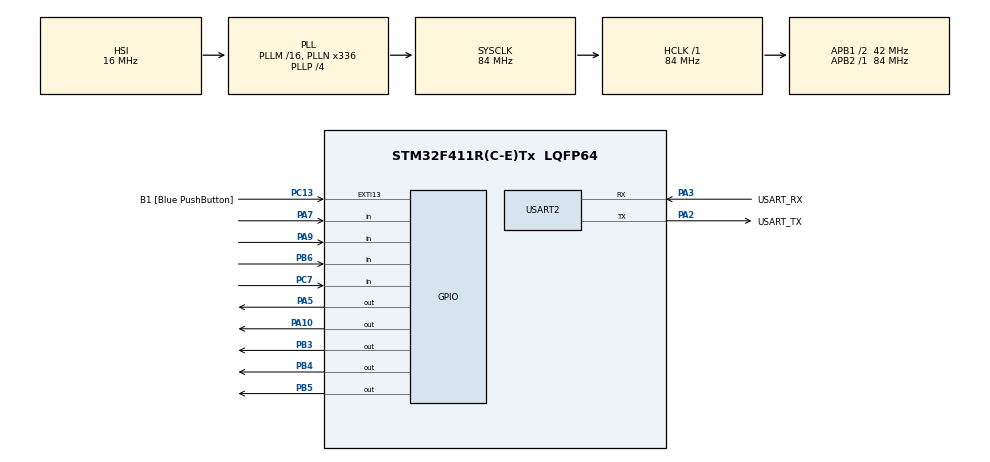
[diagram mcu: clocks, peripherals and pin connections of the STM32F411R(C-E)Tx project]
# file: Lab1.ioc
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Mcu.Family=STM32F4
Mcu.Name=STM32F411R(C-E)Tx
Mcu.Package=LQFP64
NVIC.PriorityGroup=NVIC_PRIORITYGROUP_0
PA10.PinState=GPIO_PIN_SET
PA10.Signal=GPIO_Output
PA13.GPIO_Label=TMS
PA13.Mode=Serial_Wire
PA13.Signal=SYS_JTMS-SWDIO
PA14.GPIO_Label=TCK
PA14.Mode=Serial_Wire
PA14.Signal=SYS_JTCK-SWCLK
PA2.GPIO_Label=USART_TX
PA2.Mode=Asynchronous
PA2.Signal=USART2_TX
PA3.GPIO_Label=USART_RX
PA3.Mode=Asynchronous
PA3.Signal=USART2_RX
PA5.Signal=GPIO_Output
PA7.GPIO_PuPd=GPIO_PULLUP
PA7.Signal=GPIO_Input
PA9.GPIO_PuPd=GPIO_PULLUP
PA9.Signal=GPIO_Input
PB3.PinState=GPIO_PIN_SET
PB3.Signal=GPIO_Output
PB4.PinState=GPIO_PIN_SET
PB4.Signal=GPIO_Output
PB5.PinState=GPIO_PIN_SET
PB5.Signal=GPIO_Output
PB6.GPIO_PuPd=GPIO_PULLUP
PB6.Signal=GPIO_Input
PC13-ANTI_TAMP.GPIO_Label=B1 [Blue PushButton]
PC13-ANTI_TAMP.GPIO_ModeDefaultEXTI=GPIO_MODE_IT_FALLING
PC13-ANTI_TAMP.Signal=GPXTI13
PC14-OSC32_IN.Mode=LSE-External-Oscillator
PC14-OSC32_IN.Signal=RCC_OSC32_IN
PC15-OSC32_OUT.Mode=LSE-External-Oscillator
PC15-OSC32_OUT.Signal=RCC_OSC32_OUT
PC7.GPIO_PuPd=GPIO_PULLUP
PC7.Signal=GPIO_Input
PH0\ -\ OSC_IN.Mode=HSE-External-Clock-Source
PH0\ -\ OSC_IN.Signal=RCC_OSC_IN
PH1\ -\ OSC_OUT.Mode=HSE-External-Clock-Source
PH1\ -\ OSC_OUT.Signal=RCC_OSC_OUT
ProjectManager.HeapSize=0x200
ProjectManager.StackSize=0x400
ProjectManager.TargetToolchain=STM32CubeIDE
RCC.48MHZClocksFreq_Value=84000000
RCC.AHBFreq_Value=84000000
RCC.APB1CLKDivider=RCC_HCLK_DIV2
RCC.APB1Freq_Value=42000000
RCC.APB1TimFreq_Value=84000000
RCC.APB2Freq_Value=84000000
RCC.APB2TimFreq_Value=84000000
RCC.CortexFreq_Value=84000000
RCC.FLatency-AdvancedSettings=FLASH_LATENCY_2
RCC.HCLKFreq_Value=84000000
RCC.HSE_VALUE=8000000
RCC.HSI_VALUE=16000000
RCC.PLLN=336
RCC.PLLP=RCC_PLLP_DIV4
RCC.SYSCLKFreq_VALUE=84000000
RCC.SYSCLKSource=RCC_SYSCLKSOURCE_PLLCLK
RCC.VCOOutputFreq_Value=336000000
USART2.VirtualMode=VM_ASYNC
board=NUCLEO-F411RE

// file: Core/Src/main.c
/* USER CODE BEGIN Header */
/**
  ******************************************************************************
  * @file           : main.c
  * @brief          : Main program body
  ******************************************************************************
  * @attention
  *
  * Copyright (c) 2023 STMicroelectronics.
  * All rights reserved.
  *
  * This software is licensed under terms that can be found in the LICENSE file
  * in the root directory of this software component.
  * If no LICENSE file comes with this software, it is provided AS-IS.
  *
  ******************************************************************************
  */
/* USER CODE END Header */
#include "main.h"

/* USER CODE BEGIN Includes */
//พงศภัค รติปัญญาพรกุล
/* USER CODE END Includes */

UART_HandleTypeDef huart2;

/* USER CODE BEGIN PV */
typedef struct _PortPin
{
	GPIO_TypeDef* PORT;
	uint16_t PIN;
}PortPin;

PortPin R[4] =
{
		{ GPIOA, GPIO_PIN_10 },
		{ GPIOB, GPIO_PIN_3 } ,
		{ GPIOB, GPIO_PIN_5 } ,
		{ GPIOB, GPIO_PIN_4 }
};

PortPin L[4] =
{ 		{ GPIOA, GPIO_PIN_9 },
		{ GPIOC, GPIO_PIN_7 },
		{ GPIOB, GPIO_PIN_6 },
		{ GPIOA, GPIO_PIN_7 }
};

uint16_t ButtonMatrix = 0;
uint16_t num = 100;
uint16_t num_regis = 100;

struct ButtonState{
	uint16_t Current;
	uint16_t Last;
};

struct ButtonState ButtonMatrixState;
int State = 0;
/* USER CODE END PV */

void SystemClock_Config(void);
static void MX_GPIO_Init(void);
static void MX_USART2_UART_Init(void);

/* USER CODE BEGIN PFP */
void ReadMatrixButton_1Row();
/* USER CODE END PFP */

int main(void)
{

  /* MCU Configuration--------------------------------------------------------*/

  /* Reset of all peripherals, Initializes the Flash interface and the Systick. */
HAL_Init();

  /* Configure the system clock */
  SystemClock_Config();

  /* Initialize all configured peripherals */
  MX_GPIO_Init();
  MX_USART2_UART_Init();

  /* Infinite loop */
  while (1)
  {

    /* USER CODE BEGIN 3 */
	  static uint32_t timestamp = 0;
	  if(HAL_GetTick()>=timestamp){
		  timestamp = HAL_GetTick() + 10;
		  ReadMatrixButton_1Row();
		  if(ButtonMatrix == 0b000000000001){
			  num = 7;
		  }else if(ButtonMatrix == 0b0000000000000010){
			  num = 4;
		  }else if(ButtonMatrix == 0b0000000000000100){
			  num = 1;
		  }else if(ButtonMatrix == 0b0000000000001000){
			  num = 0;
		  }else if(ButtonMatrix == 0b0000000000010000){
			  num = 8;
		  }else if(ButtonMatrix == 0b0000000000100000){
			  num = 5;
		  }else if(ButtonMatrix == 0b0000000001000000){
			  num = 2;
		  }else if(ButtonMatrix == 0b0000000100000000){
			  num = 9;
		  }else if(ButtonMatrix == 0b0000001000000000){
			  num = 6;
		  }else if(ButtonMatrix == 0b0000010000000000){
			  num = 3;
		  }else if(ButtonMatrix == 0b0001000000000000){
			  num = 10; //Clear
		  }else if(ButtonMatrix == 0b1000000000000000){
			  num = 11; //OK
		  }else{
			  num = 100; //0 1
		  }
	  }
	  ButtonMatrixState.Current = num;

	  if(ButtonMatrixState.Last == 100 && ButtonMatrixState.Current != 100 ){
		  num_regis = num;
	  }

	  ButtonMatrixState.Last = ButtonMatrixState.Current;

	  if(num_regis != 100){ // INIT -> 6 -> 4 -> 3 -> 4 -> 0 -> 5 -> 0 -> 0 -> 0 -> 4 -> 1 -> OK *Clear*
		  switch (State) {
			case 0:
			default:
				if(num_regis == 6){State=1;}//INIT
				else if(num_regis  != 6){State=13;}
				break;

			case 1:
				if(num_regis  == 4){State=2;}//6
				else if(num_regis  != 4){State=13;}
				break;

			case 2:
				if(num_regis  == 3){State=3;}//64
				else if(num_regis  != 3){State=13;}
				break;

			case 3:
				if(num_regis  == 4){State=4;}//643
				else if(num_regis  != 4){State=13;}
				break;

			case 4:
				if(num_regis  == 0){State=5;}//6434
				else if(num_regis  != 0){State=13;}
				break;

			case 5:
				if(num_regis  == 5){State=6;}//64340
				else if(num_regis  != 5){State=13;}
				break;

			case 6:
				if(num_regis  == 0){State=7;}//643405
				else if(num_regis  != 0){State=13;}
				break;

			case 7:
				if(num_regis  == 0){State=8;}//6434050
				else if(num_regis  != 0){State=13;}
				break;

			case 8:
				if(num_regis  == 0){State=9;}//64340500
				else if(num_regis  != 0){State=13;}
				break;

			case 9:
				if(num_regis  == 4){State=10;}//643405000
				else if(num_regis  != 4){State=13;}
				break;

			case 10:
				if(num_regis  == 1){State=11;}//6434050004
				else if(num_regis  != 1){State=13;}
				break;

			case 11:
				if(num_regis  == 11){HAL_GPIO_WritePin(GPIOA, GPIO_PIN_5,GPIO_PIN_SET);State=13;}//64340500041 if OK
				else if(num_regis  != 11){State=13;}
				break;

			case 13: //wait clear
				if(num_regis==10){HAL_GPIO_WritePin(GPIOA, GPIO_PIN_5,GPIO_PIN_RESET);State=0;}
				break;
		}
		 num_regis = 100; //num regis clear
	  }

  }
  /* USER CODE END 3 */
}

void SystemClock_Config(void)
{
  RCC_OscInitTypeDef RCC_OscInitStruct = {0};
  RCC_ClkInitTypeDef RCC_ClkInitStruct = {0};

  /** Configure the main internal regulator output voltage
  */
  __HAL_RCC_PWR_CLK_ENABLE();
  __HAL_PWR_VOLTAGESCALING_CONFIG(PWR_REGULATOR_VOLTAGE_SCALE1);

  /** Initializes the RCC Oscillators according to the specified parameters
  * in the RCC_OscInitTypeDef structure.
  */
  RCC_OscInitStruct.OscillatorType = RCC_OSCILLATORTYPE_HSI;
  RCC_OscInitStruct.HSIState = RCC_HSI_ON;
  RCC_OscInitStruct.HSICalibrationValue = RCC_HSICALIBRATION_DEFAULT;
  RCC_OscInitStruct.PLL.PLLState = RCC_PLL_ON;
  RCC_OscInitStruct.PLL.PLLSource = RCC_PLLSOURCE_HSI;
  RCC_OscInitStruct.PLL.PLLM = 16;
  RCC_OscInitStruct.PLL.PLLN = 336;
  RCC_OscInitStruct.PLL.PLLP = RCC_PLLP_DIV4;
  RCC_OscInitStruct.PLL.PLLQ = 4;
  if (HAL_RCC_OscConfig(&RCC_OscInitStruct) != HAL_OK)
  {
    Error_Handler();
  }

  /** Initializes the CPU, AHB and APB buses clocks
  */
  RCC_ClkInitStruct.ClockType = RCC_CLOCKTYPE_HCLK|RCC_CLOCKTYPE_SYSCLK
                              |RCC_CLOCKTYPE_PCLK1|RCC_CLOCKTYPE_PCLK2;
  RCC_ClkInitStruct.SYSCLKSource = RCC_SYSCLKSOURCE_PLLCLK;
  RCC_ClkInitStruct.AHBCLKDivider = RCC_SYSCLK_DIV1;
  RCC_ClkInitStruct.APB1CLKDivider = RCC_HCLK_DIV2;
  RCC_ClkInitStruct.APB2CLKDivider = RCC_HCLK_DIV1;

  if (HAL_RCC_ClockConfig(&RCC_ClkInitStruct, FLASH_LATENCY_2) != HAL_OK)
  {
    Error_Handler();
  }
}

static void MX_USART2_UART_Init(void)
{

  huart2.Instance = USART2;
  huart2.Init.BaudRate = 115200;
  huart2.Init.WordLength = UART_WORDLENGTH_8B;
  huart2.Init.StopBits = UART_STOPBITS_1;
  huart2.Init.Parity = UART_PARITY_NONE;
  huart2.Init.Mode = UART_MODE_TX_RX;
  huart2.Init.HwFlowCtl = UART_HWCONTROL_NONE;
  huart2.Init.OverSampling = UART_OVERSAMPLING_16;
  if (HAL_UART_Init(&huart2) != HAL_OK)
  {
    Error_Handler();
  }

}

static void MX_GPIO_Init(void)
{
  GPIO_InitTypeDef GPIO_InitStruct = {0};

  /* GPIO Ports Clock Enable */
  __HAL_RCC_GPIOC_CLK_ENABLE();
  __HAL_RCC_GPIOH_CLK_ENABLE();
  __HAL_RCC_GPIOA_CLK_ENABLE();
  __HAL_RCC_GPIOB_CLK_ENABLE();

  /*Configure GPIO pin Output Level */
  HAL_GPIO_WritePin(GPIOA, GPIO_PIN_5, GPIO_PIN_RESET);

  /*Configure GPIO pin Output Level */
  HAL_GPIO_WritePin(GPIOA, GPIO_PIN_10, GPIO_PIN_SET);

  /*Configure GPIO pin Output Level */
  HAL_GPIO_WritePin(GPIOB, GPIO_PIN_3|GPIO_PIN_4|GPIO_PIN_5, GPIO_PIN_SET);

  /*Configure GPIO pin : B1_Pin */
  GPIO_InitStruct.Pin = B1_Pin;
  GPIO_InitStruct.Mode = GPIO_MODE_IT_FALLING;
  GPIO_InitStruct.Pull = GPIO_NOPULL;
  HAL_GPIO_Init(B1_GPIO_Port, &GPIO_InitStruct);

  /*Configure GPIO pins : PA5 PA10 */
  GPIO_InitStruct.Pin = GPIO_PIN_5|GPIO_PIN_10;
  GPIO_InitStruct.Mode = GPIO_MODE_OUTPUT_PP;
  GPIO_InitStruct.Pull = GPIO_NOPULL;
  GPIO_InitStruct.Speed = GPIO_SPEED_FREQ_LOW;
  HAL_GPIO_Init(GPIOA, &GPIO_InitStruct);

  /*Configure GPIO pins : PA7 PA9 */
  GPIO_InitStruct.Pin = GPIO_PIN_7|GPIO_PIN_9;
  GPIO_InitStruct.Mode = GPIO_MODE_INPUT;
  GPIO_InitStruct.Pull = GPIO_PULLUP;
  HAL_GPIO_Init(GPIOA, &GPIO_InitStruct);

  /*Configure GPIO pin : PC7 */
  GPIO_InitStruct.Pin = GPIO_PIN_7;
  GPIO_InitStruct.Mode = GPIO_MODE_INPUT;
  GPIO_InitStruct.Pull = GPIO_PULLUP;
  HAL_GPIO_Init(GPIOC, &GPIO_InitStruct);

  /*Configure GPIO pins : PB3 PB4 PB5 */
  GPIO_InitStruct.Pin = GPIO_PIN_3|GPIO_PIN_4|GPIO_PIN_5;
  GPIO_InitStruct.Mode = GPIO_MODE_OUTPUT_PP;
  GPIO_InitStruct.Pull = GPIO_NOPULL;
  GPIO_InitStruct.Speed = GPIO_SPEED_FREQ_LOW;
  HAL_GPIO_Init(GPIOB, &GPIO_InitStruct);

  /*Configure GPIO pin : PB6 */
  GPIO_InitStruct.Pin = GPIO_PIN_6;
  GPIO_InitStruct.Mode = GPIO_MODE_INPUT;
  GPIO_InitStruct.Pull = GPIO_PULLUP;
  HAL_GPIO_Init(GPIOB, &GPIO_InitStruct);

}

/* USER CODE BEGIN 4 */
void ReadMatrixButton_1Row() {
    static uint8_t X = 0;
    register int i;
    for (i = 0; i < 4; i++) {
        if (HAL_GPIO_ReadPin(L[i].PORT, L[i].PIN)) {
            ButtonMatrix &= ~(1 << (X * 4 + i));
        } else {
            ButtonMatrix |= 1 << (X * 4 + i);
        }
    }
    HAL_GPIO_WritePin(R[X].PORT, R[X].PIN, 1);
    HAL_GPIO_WritePin(R[(X + 1) % 4].PORT, R[(X + 1) % 4].PIN, 0);
    X++;
    X %= 4;
}
/* USER CODE END 4 */

void Error_Handler(void)
{
  __disable_irq();
  while (1)
  {
  }
}
